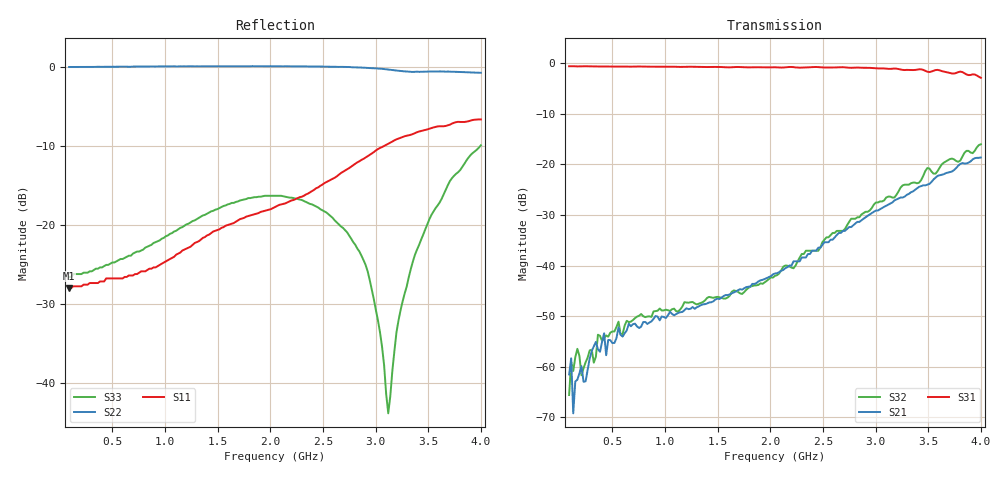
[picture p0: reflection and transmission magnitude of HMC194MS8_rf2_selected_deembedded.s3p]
!Hittite Microwave Corporation
!12 Elizabeth Drive
!Chelmsford, MA 01824
!Tel: 978-250-3343
!Fax: 978-250-3373
!Device: HMC194MS8, DC-3 GHz GaAS MMIC SPDT switch in 8-lead MSOP package
!Misc: Port 1 = RFCom, Port 2 = RF1, Port 3 = RF2, RF2 selected, Vctl=0/+5V
# MHZ S MA R 50
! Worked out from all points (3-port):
!   201 points, 90 MHz to 4 GHz, reference 50 ohm
!   strongest paths, dB at 90 MHz, 1.067 GHz, 2.045 GHz, 3.022 GHz, 4 GHz:
!     S31: -0.6, -0.7, -0.8, -1.0, -2.9
!     S21: -61.5, -49.6, -41.6, -29.1, -18.6
!     S32: -65.6, -48.6, -42.0, -27.5, -16.0
!   lowest |S11| = -28.0 dB at 90 MHz (marker M1), VSWR 1.08, Z = 54.2 + j0.246 ohm
!   |S11| at or under -10 dB: start of sweep to 3.082 GHz
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90  0.04 3.3  0.0003749 62.9  0.935 -0.5
    0.0008382 -19.7  0.997 -2.5  0.00131 57.5
    0.934 -0.5  0.0005248 151.2  0.047 2.9
109.55  0.04 7.3  0.0006277 79.2  0.936 -0.8
        0.00121 89.1  0.997 -3.1  0.001058 97.2
        0.935 -0.8  0.001117 67.1  0.047 5.8
129.1  0.041 4.9  0.0005529 29.7  0.935 -1.0
       0.0003459 34.2  0.997 -3.5  0.0005879 48.3
       0.934 -1.0  0.0009056 47.1  0.049 4.3
168.2  0.041 2.7  0.0009762 64.9  0.93 -0.8
       0.0007437 64.6  0.997 -4.5  0.001297 64.3
       0.93 -0.8  0.001501 63.8  0.049 3.2
422.35  0.044 -0.4  0.002277 87.6  0.929 -1.2
        0.00214 82.9  1 -10.8  0.001662 60.7
        0.927 -1.1  0.001902 66.2  0.055 -2.2
2045  0.13 46.5  0.008852 -173.7  0.921 -4.3
      0.008347 -171.0  1.007 -42.5  0.008107 -4.3
      0.912 -4.3  0.007913 -6.4  0.153 5.1
2846.55  0.253 77.9  0.028 -138.6  0.905 -9.3
         0.027 -136.8  0.99 -65.7  0.031 -52.9
         0.904 -9.1  0.03 -52.1  0.068 -6.4
3120.25  0.326 79.9  0.037 -135.9  0.872 -11.7
         0.04 -135.7  0.961 -77.8  0.047 -64.9
         0.88 -11.7  0.048 -66.6  0.006461 -103.3
3374.4  0.381 78.8  0.053 -134.2  0.85 -13.9
        0.056 -133.9  0.93 -87.9  0.067 -75.0
        0.858 -13.4  0.066 -78.4  0.065 176.8
4000  0.465 75.8  0.136 -144.1  0.766 -25.7
      0.117 -144.8  0.916 -120.2  0.151 -110.2
      0.718 -23.8  0.158 -111.7  0.319 165.3
